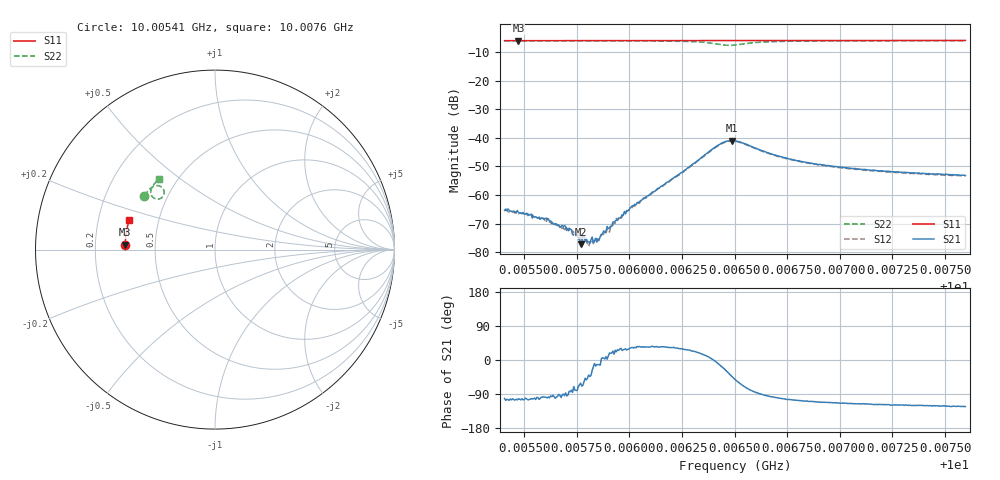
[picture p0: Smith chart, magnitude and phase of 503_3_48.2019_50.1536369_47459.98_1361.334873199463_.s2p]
#  HZ  S  RI  R  50.00
! Rohde & Schwarz Vector Network Analyzer
! Rohde-Schwarz,ZNB20-2Port,1311601062101988,3.16
! Created: UTC 3/20/2024, 11:58:40 AM
! freq[Hz]  re:S11  im:S11  re:S21  im:S21  re:S12  im:S12  re:S22  im:S22
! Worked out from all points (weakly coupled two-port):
!   401 points, 10.00541 GHz to 10.0076 GHz, reference 50 ohm
!   highest |S21| = -40.94 dB at 10.00649 GHz (marker M1); lowest = -77.3 dB at 10.00577 GHz (marker M2)
!   lowest |S11| = -6.0 dB at 10.00547 GHz (marker M3), VSWR 3.01, Z = 16.6 + j1.23 ohm
!   |S11| at or under -10 dB: nowhere
!   |S22| runs from -7.7 to -6.0 dB; largest |S21 - S12| = 0.00056
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1.0005408e10  -0.5004 0.0233  -0.000109 -0.000528  -0.00012 -0.000514  -0.3945 0.301
1.0005473e10  -0.5001 0.0277  -0.000107 -0.000482  -9.47e-05 -0.000459  -0.3916 0.305
1.0005599e10  -0.4998 0.0357  -5.32e-05 -0.000378  -3.21e-05 -0.000346  -0.386 0.3124
1.0005687e10  -0.4997 0.0415  9.89e-07 -0.00028  -5.96e-06 -0.000266  -0.3819 0.3177
1.0005742e10  -0.4994 0.0451  3.91e-05 -0.00021  6.13e-05 -0.000219  -0.3792 0.3211
1.0005769e10  -0.4993 0.0469  6.58e-05 -0.000119  3.89e-05 -0.000186  -0.3778 0.3227
1.0005774e10  -0.4996 0.0473  5.31e-05 -0.000138  8.11e-05 -0.00016  -0.3775 0.3231
1.0005791e10  -0.4993 0.0484  0.000104 -0.000116  0.000109 -0.000133  -0.3767 0.3241
1.0005807e10  -0.4992 0.0494  0.000118 -9.73e-05  9.41e-05 -8.55e-05  -0.3758 0.3252
1.0005846e10  -0.4991 0.0518  0.000146 -3.12e-05  0.000172 -1.73e-05  -0.3735 0.3275
1.0005911e10  -0.4986 0.0561  0.000272 8.7e-05  0.00026 8.88e-05  -0.3697 0.3319
1.0005933e10  -0.4987 0.0576  0.000316 0.000151  0.000286 0.000148  -0.3684 0.3331
1.0006015e10  -0.498 0.0628  0.000546 0.000355  0.000506 0.000346  -0.3627 0.3386
1.0006141e10  -0.4972 0.071  0.0011 0.000739  0.00106 0.000783  -0.3511 0.3477
1.0006415e10  -0.4943 0.0886  0.0071 -0.000737  0.00699 -0.000328  -0.2861 0.3333
1.0006453e10  -0.4938 0.0906  0.00773 -0.00352  0.00774 -0.00304  -0.2847 0.3073
1.0006486e10  -0.4937 0.0926  0.00659 -0.00609  0.00679 -0.0056  -0.2995 0.2874
1.0006502e10  -0.4934 0.0936  0.00551 -0.00694  0.00582 -0.00648  -0.3106 0.2825
1.0006699e10  -0.4921 0.1062  -0.000782 -0.00483  -0.00057 -0.00478  -0.3579 0.3255
1.0006869e10  -0.49 0.1169  -0.00118 -0.00337  -0.00103 -0.00338  -0.3505 0.3481
1.0007236e10  -0.4847 0.14  -0.00121 -0.00228  -0.00109 -0.00228  -0.3309 0.3744
1.0007597e10  -0.4783 0.1626  -0.00119 -0.00184  -0.00109 -0.00185  -0.3124 0.3933
